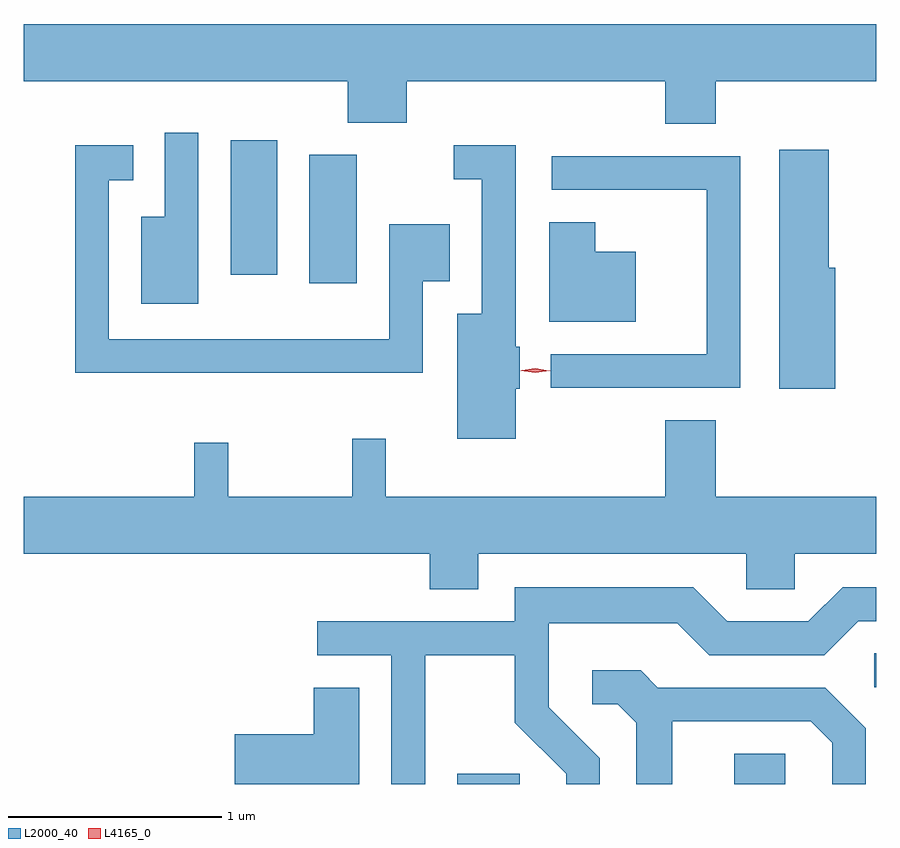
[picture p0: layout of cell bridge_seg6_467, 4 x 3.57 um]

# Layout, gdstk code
import gdstk
lib = gdstk.Library(unit=1e-6, precision=1e-09)
def R(c, l, rs):  # rectangles x0, y0, x1, y1
    for r in rs: c.add(gdstk.rectangle(r[:2], r[2:], *l))
def P(c, l, *ps):  # polygons
    for p in ps: c.add(gdstk.Polygon(p, *l))
L2000_40 = (2000, 40)
L4165_0 = (4165, 0)

bridge_seg6_467 = lib.new_cell('bridge_seg6_467')
R(bridge_seg6_467, L2000_40, [(783.921,1593.356,784.214,1593.404), (785.221,1593.356,785.459,1593.499), (785.878,1593.811,785.886,1593.969), (783.226,1595.706,783.449,1596.309), (782.856,1595.746,783.074,1596.379)])
P(bridge_seg6_467, L2000_40, [(785.134,1596.656),(785.886,1596.656),(785.886,1596.924),(781.886,1596.924),(781.886,1596.656),(783.406,1596.656),(783.406,1596.461),(783.684,1596.461),(783.684,1596.656),(784.896,1596.656),(784.896,1596.456),(785.134,1596.456)],
  [(782.704,1596.413),(782.546,1596.413),(782.546,1596.019),(782.436,1596.019),(782.436,1595.611),(782.704,1595.611)],
  [(783.759,1595.716),(783.884,1595.716),(783.884,1595.984),(783.601,1595.984),(783.601,1595.444),(782.284,1595.444),(782.284,1596.191),(782.398,1596.191),(782.398,1596.354),(782.126,1596.354),(782.126,1595.286),(783.759,1595.286)],
  [(784.194,1595.211),(784.214,1595.211),(784.214,1595.409),(784.194,1595.409),(784.194,1596.354),(783.903,1596.354),(783.903,1596.196),(784.036,1596.196),(784.036,1595.564),(783.921,1595.564),(783.921,1594.976),(784.194,1594.976)],
  [(785.694,1595.779),(785.664,1595.779),(785.664,1596.334),(785.431,1596.334),(785.431,1595.211),(785.694,1595.211)],
  [(785.249,1596.304),(784.363,1596.304),(784.363,1596.146),(785.091,1596.146),(785.091,1595.374),(784.358,1595.374),(784.358,1595.216),(785.249,1595.216)],
  [(784.759,1595.854),(784.569,1595.854),(784.569,1595.994),(784.351,1595.994),(784.351,1595.526),(784.759,1595.526)],
  [(784.019,1594.436),(785.276,1594.436),(785.276,1594.271),(785.504,1594.271),(785.504,1594.436),(785.886,1594.436),(785.886,1594.704),(785.134,1594.704),(785.134,1595.064),(784.896,1595.064),(784.896,1594.704),(783.584,1594.704),(783.584,1594.978),(783.426,1594.978),(783.426,1594.704),(782.844,1594.704),(782.844,1594.958),(782.686,1594.958),(782.686,1594.704),(781.886,1594.704),(781.886,1594.436),(783.791,1594.436),(783.791,1594.271),(784.019,1594.271)],
  [(783.769,1593.961),(784.191,1593.961),(784.191,1593.644),(784.431,1593.404),(784.431,1593.356),(784.589,1593.356),(784.589,1593.477),(784.349,1593.717),(784.349,1594.111),(784.954,1594.111),(785.104,1593.961),(785.642,1593.961),(785.802,1594.121),(785.886,1594.121),(785.886,1594.279),(785.729,1594.279),(785.569,1594.119),(785.187,1594.119),(785.027,1594.279),(784.191,1594.279),(784.191,1594.119),(783.263,1594.119),(783.263,1593.961),(783.611,1593.961),(783.611,1593.356),(783.769,1593.356)],
  [(784.929,1593.651),(785.579,1593.651),(785.681,1593.549),(785.681,1593.356),(785.839,1593.356),(785.839,1593.617),(785.647,1593.809),(784.862,1593.809),(784.782,1593.889),(784.553,1593.889),(784.553,1593.731),(784.674,1593.731),(784.761,1593.644),(784.761,1593.356),(784.929,1593.356)],
  [(783.459,1593.809),(783.246,1593.809),(783.246,1593.589),(782.876,1593.589),(782.876,1593.356),(783.459,1593.356)])
P(bridge_seg6_467, L4165_0, [(784.286,1595.287),(784.222,1595.298),(784.221,1595.299),(784.222,1595.299),(784.287,1595.307),(784.352,1595.296),(784.352,1595.295),(784.352,1595.295)],
  [(784.286,1595.286),(784.218,1595.296),(784.217,1595.296),(784.218,1595.297),(784.286,1595.306),(784.355,1595.297),(784.356,1595.296),(784.355,1595.296)])

lib.write_gds('bridge_seg6_467.gds')
